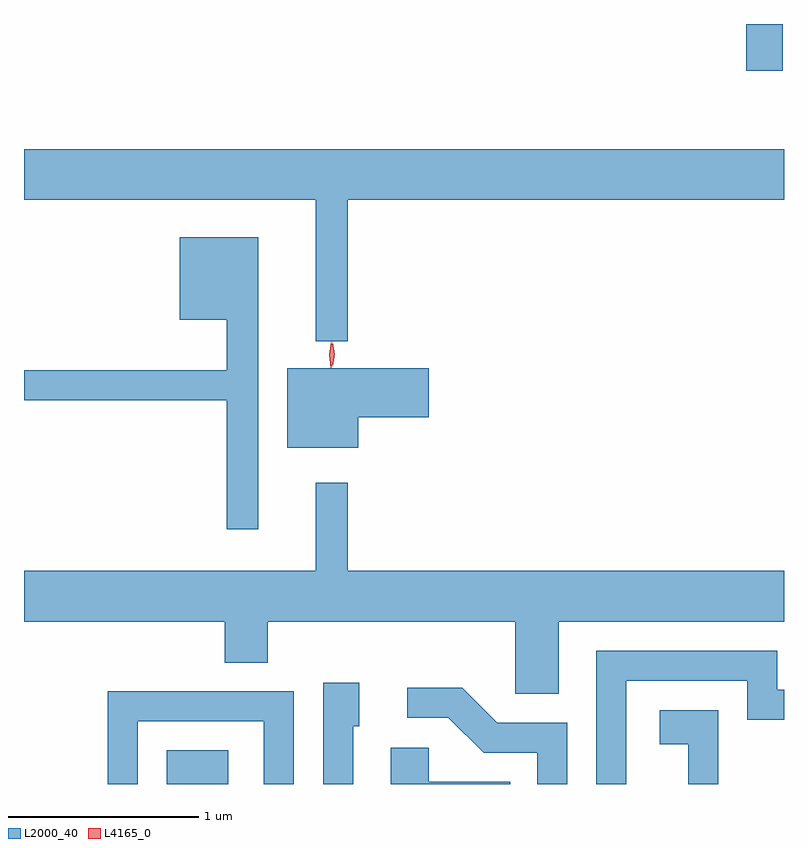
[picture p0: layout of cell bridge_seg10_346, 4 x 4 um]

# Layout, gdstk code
import gdstk
lib = gdstk.Library(unit=1e-6, precision=1e-09)
def R(c, l, rs):  # rectangles x0, y0, x1, y1
    for r in rs: c.add(gdstk.rectangle(r[:2], r[2:], *l))
def P(c, l, *ps):  # polygons
    for p in ps: c.add(gdstk.Polygon(p, *l))
L2000_40 = (2000, 40)
L4165_0 = (4165, 0)

bridge_seg10_346 = lib.new_cell('bridge_seg10_346')
R(bridge_seg10_346, L2000_40, [(1204.606,2168.562,1204.929,2168.739), (1207.656,2172.316,1207.849,2172.562)])
P(bridge_seg10_346, L2000_40, [(1205.559,2171.636),(1207.855,2171.636),(1207.855,2171.904),(1203.855,2171.904),(1203.855,2171.636),(1205.391,2171.636),(1205.391,2170.893),(1205.559,2170.893)],
  [(1205.089,2171.439),(1204.676,2171.439),(1204.676,2171.006),(1204.921,2171.006),(1204.921,2170.739),(1203.855,2170.739),(1203.855,2170.581),(1204.921,2170.581),(1204.921,2169.903),(1205.089,2169.903)],
  [(1205.614,2170.491),(1205.984,2170.491),(1205.984,2170.749),(1205.241,2170.749),(1205.241,2170.331),(1205.614,2170.331)],
  [(1206.669,2169.416),(1207.855,2169.416),(1207.855,2169.684),(1205.559,2169.684),(1205.559,2170.148),(1205.391,2170.148),(1205.391,2169.684),(1203.855,2169.684),(1203.855,2169.416),(1204.911,2169.416),(1204.911,2169.201),(1205.139,2169.201),(1205.139,2169.416),(1206.441,2169.416),(1206.441,2169.036),(1206.669,2169.036)],
  [(1207.024,2169.106),(1207.661,2169.106),(1207.661,2168.901),(1207.855,2168.901),(1207.855,2169.059),(1207.819,2169.059),(1207.819,2169.264),(1206.866,2169.264),(1206.866,2168.562),(1207.024,2168.562)],
  [(1205.589,2168.866),(1205.619,2168.866),(1205.619,2169.094),(1205.431,2169.094),(1205.431,2168.562),(1205.589,2168.562)],
  [(1206.714,2168.884),(1206.347,2168.884),(1206.162,2169.069),(1205.873,2169.069),(1205.873,2168.911),(1206.089,2168.911),(1206.274,2168.726),(1206.556,2168.726),(1206.556,2168.562),(1206.714,2168.562)],
  [(1204.454,2168.891),(1205.116,2168.891),(1205.116,2168.562),(1205.274,2168.562),(1205.274,2169.049),(1204.296,2169.049),(1204.296,2168.562),(1204.454,2168.562)],
  [(1207.509,2168.949),(1207.201,2168.949),(1207.201,2168.771),(1207.351,2168.771),(1207.351,2168.562),(1207.509,2168.562)],
  [(1206.413,2168.574),(1205.984,2168.574),(1205.984,2168.754),(1205.786,2168.754),(1205.786,2168.562),(1206.413,2168.562)])
P(bridge_seg10_346, L4165_0, [(1205.47,2170.754),(1205.462,2170.822),(1205.472,2170.89),(1205.472,2170.89),(1205.473,2170.89),(1205.482,2170.822),(1205.472,2170.754),(1205.471,2170.754)],
  [(1205.48,2170.76),(1205.47,2170.823),(1205.48,2170.886),(1205.48,2170.887),(1205.481,2170.886),(1205.49,2170.823),(1205.481,2170.76),(1205.481,2170.76)])

lib.write_gds('bridge_seg10_346.gds')
